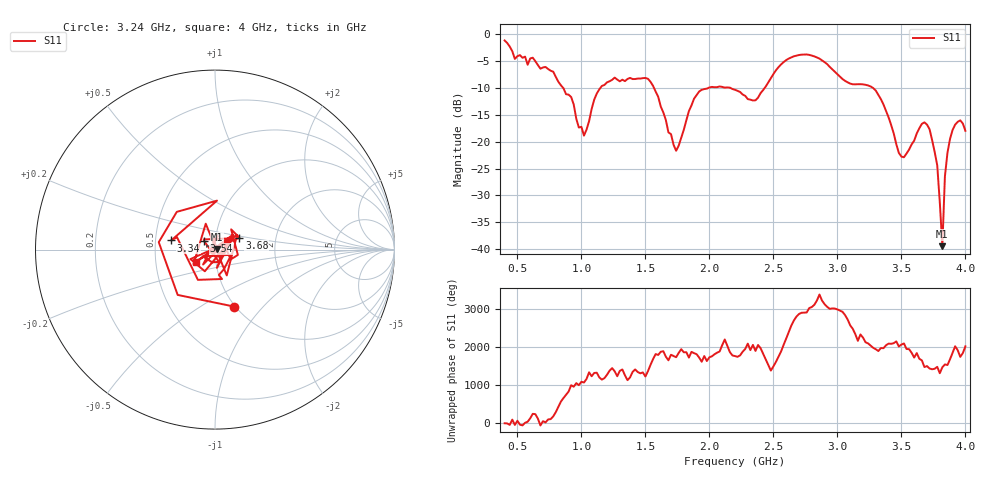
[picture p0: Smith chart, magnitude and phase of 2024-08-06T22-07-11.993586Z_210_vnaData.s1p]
!Created with skrf (http://scikit-rf.org).
# Hz S RI R 50.0
!freq ReS11 ImS11
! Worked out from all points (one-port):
!   181 points, 400 MHz to 4 GHz, reference 50 ohm
!   lowest |S11| = -39.5 dB at 3.82 GHz (marker M1), VSWR 1.02, Z = 51 + j0.385 ohm
!   |S11| at or under -10 dB: 858.6 MHz to 1.147 GHz (288.8 MHz wide, 28.8 % of centre); 1.568 GHz to 1.99 GHz (422.3 MHz wide, 23.7 % of centre); 3.28 GHz to end of sweep (the widest 3 of 4)
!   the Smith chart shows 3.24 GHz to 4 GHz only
!   S11 on the Smith chart (normalised r, x): 3.24 GHz: 0.99, -0.70; 3.34 GHz: 0.61, +0.07; 3.54 GHz: 0.88, +0.09; 3.68 GHz: 1.30, +0.18; 4 GHz: 0.80, -0.11
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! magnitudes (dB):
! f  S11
! 400 MHz  -1.1
! 480 MHz  -4.6
! 620 MHz  -4.3
! 860 MHz  -10.0
! 1.02 GHz  -18.9
! 1.14 GHz  -10.2
! 1.3 GHz  -8.7
! 1.52 GHz  -8.3
! 1.74 GHz  -21.7
! 1.76 GHz  -20.7
! 1.92 GHz  -10.6
! 2.2 GHz  -10.3
! 2.36 GHz  -12.3
! 2.66 GHz  -4.1
! 3.1 GHz  -9.2
! 3.24 GHz  -9.5
! 3.34 GHz  -12.1
! 3.48 GHz  -22.1
! 3.54 GHz  -22.2
! 3.56 GHz  -21.5
! 3.68 GHz  -16.4
! 3.72 GHz  -17.7
! 3.78 GHz  -24.4
! 3.82 GHz  -39.5
! 3.84 GHz  -26.5
! 3.88 GHz  -19.5
! 3.96 GHz  -16.0
! 4 GHz  -18.0
